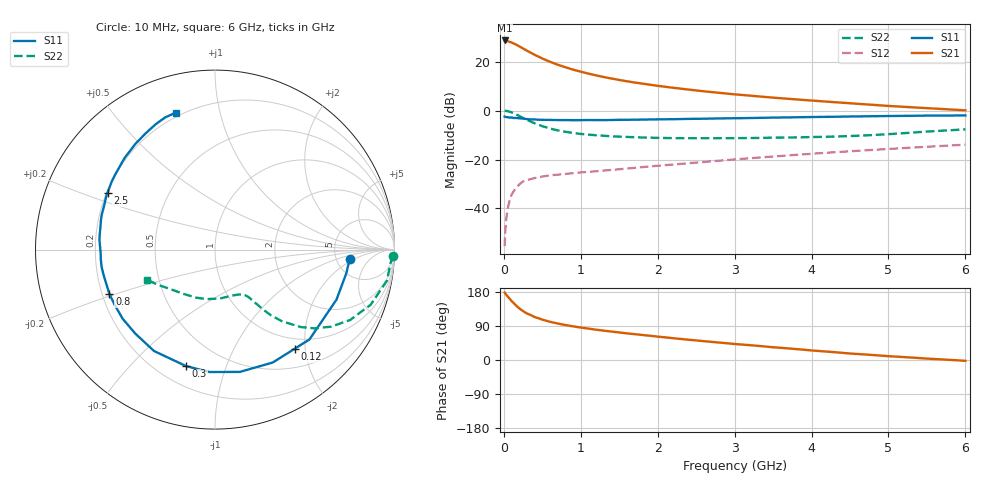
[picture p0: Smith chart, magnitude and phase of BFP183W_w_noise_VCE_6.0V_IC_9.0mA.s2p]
! Infineon Technologies  Discrete & RF Semiconductors
! BFP183W
! VCE =  6.0 V,  IC =  9.0 mA
! Common Emitter S-Parameters:  Jan 2017
# GHz  S  MA  R  50
!  f  S11  S21  S12  S22
! GHz  MAG  ANG  MAG  ANG  MAG  ANG  MAG  ANG
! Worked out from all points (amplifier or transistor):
!   77 points, 10 MHz to 6 GHz, reference 50 ohm
!   highest |S21| = 28.6 dB at 10 MHz (marker M1)
!   |S21| within 3 dB of that: start of sweep to 234.7 MHz
!   unconditionally stable (mu >= 1): 1.733 GHz to 3.937 GHz
!   at 130 MHz: K = 0.13, MSG = 30.1 dB, |S12| = -32.8 dB
!   at 2.2 GHz: K = 1.06, MAG = 14.2 dB, |S12| = -22.0 dB
!   at 6 GHz: K = 0.84, MSG = 7.0 dB, |S12| = -13.9 dB
!   lowest NFmin = 0.90 dB at 450 MHz
!   S11 on the Smith chart (normalised r, x): 10 MHz: 6.72, -1.54; 120 MHz: 0.81, -1.80; 300 MHz: 0.31, -0.73; 800 MHz: 0.23, -0.19; 2.5 GHz: 0.20, +0.24; 6 GHz: 0.18, +0.74
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0.01  0.7525 -3.8  26.95 178.2  0.0017 81.9  0.9938 -2.0
0.02  0.7433 -10.3  26.74 174.8  0.0037 88.1  0.9816 -4.1
0.05  0.7321 -22.4  26.06 167.5  0.0099 79.6  0.9736 -10.2
0.1  0.7263 -43.6  24.56 155.7  0.0189 69.9  0.92 -19.5
0.12  0.7087 -51.2  23.69 151.8  0.0215 66.1  0.8897 -22.5
0.15  0.7066 -62.9  22.6 145.4  0.0255 61.9  0.8493 -27.5
0.2  0.6953 -78.5  20.48 136.4  0.031 55.6  0.7759 -33.6
0.25  0.6828 -92.5  18.49 128.9  0.0357 49.9  0.7062 -38.4
0.3  0.6689 -103.9  16.64 122.9  0.038 46.5  0.6436 -42.1
0.4  0.6592 -121.0  13.75 113.4  0.0417 41.1  0.5473 -46.9
0.5  0.6451 -133.5  11.53 106.5  0.0449 38.2  0.4792 -49.6
0.6  0.6427 -143.2  9.905 100.9  0.0476 37.3  0.43 -51.2
0.7  0.6383 -151.0  8.627 96.3  0.049 36.6  0.3931 -52.2
0.8  0.6381 -157.3  7.652 92.2  0.0508 37.7  0.3684 -53.0
1.1  0.6392 -171.3  5.672 82.9  0.056 39.3  0.3221 -54.9
1.5  0.6457 175.5  4.208 72.7  0.0633 42.0  0.2927 -58.8
2.1  0.6621 160.4  3.053 59.7  0.0767 46.3  0.2748 -68.2
2.5  0.6773 152.1  2.571 51.7  0.0865 48.0  0.2717 -76.6
3.1  0.699 141.2  2.076 40.7  0.1032 48.9  0.2736 -90.0
4.1  0.7396 125.9  1.557 23.7  0.1342 47.5  0.2891 -114.1
5.1  0.7752 114.4  1.215 8.9  0.1675 44.0  0.3368 -139.9
6  0.7937 106.0  1.009 -2.2  0.2008 39.1  0.4129 -155.8
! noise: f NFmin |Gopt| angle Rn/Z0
0.45  0.9  0.11  89  0.11
0.9  0.95  0.18  132  0.1
1.9  1.46  0.37  179  0.07
2.4  1.71  0.44  -170  0.09
